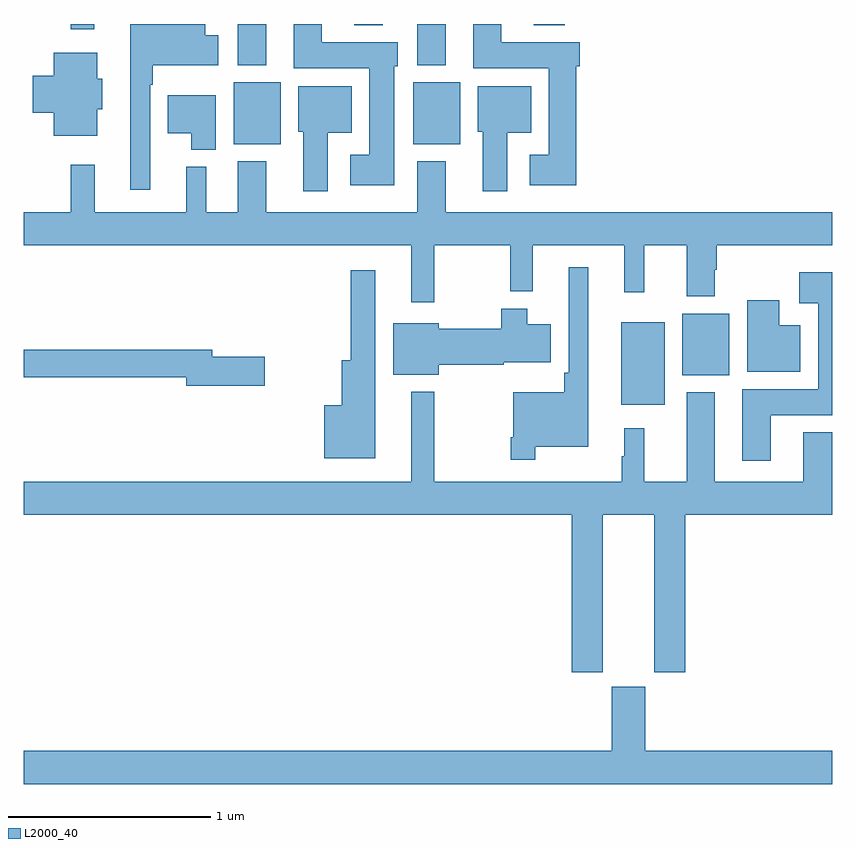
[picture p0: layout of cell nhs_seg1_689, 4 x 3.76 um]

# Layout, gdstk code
import gdstk
lib = gdstk.Library(unit=1e-6, precision=1e-09)
def R(c, l, rs):  # rectangles x0, y0, x1, y1
    for r in rs: c.add(gdstk.rectangle(r[:2], r[2:], *l))
def P(c, l, *ps):  # polygons
    for p in ps: c.add(gdstk.Polygon(p, *l))
L2000_40 = (2000, 40)

nhs_seg1_689 = lib.new_cell('nhs_seg1_689')
R(nhs_seg1_689, L2000_40, [(151.955,512.315,152.17,512.725), (152.258,512.462,152.491,512.767), (150.038,513.605,150.271,513.91), (150.926,513.605,151.159,513.91), (150.059,513.995,150.199,514.199), (150.947,513.995,151.087,514.199), (149.233,514.173,149.35,514.199), (150.635,514.193,150.775,514.199), (151.523,514.193,151.676,514.199)])
P(nhs_seg1_689, L2000_40, [(149.625,513.899),(149.638,513.899),(149.638,513.995),(149.962,513.995),(149.962,514.143),(149.899,514.143),(149.899,514.199),(149.528,514.199),(149.528,513.378),(149.625,513.378)],
  [(150.832,513.99),(150.85,513.99),(150.85,514.108),(150.475,514.108),(150.475,514.199),(150.335,514.199),(150.335,513.98),(150.71,513.98),(150.71,513.553),(150.615,513.553),(150.615,513.401),(150.832,513.401)],
  [(151.733,513.99),(151.751,513.99),(151.751,514.108),(151.363,514.108),(151.363,514.199),(151.223,514.199),(151.223,513.98),(151.598,513.98),(151.598,513.553),(151.503,513.553),(151.503,513.401),(151.733,513.401)],
  [(149.365,513.777),(149.389,513.777),(149.389,513.927),(149.365,513.927),(149.365,514.057),(149.15,514.057),(149.15,513.944),(149.045,513.944),(149.045,513.761),(149.15,513.761),(149.15,513.647),(149.365,513.647)],
  [(151.393,513.662),(151.51,513.662),(151.51,513.892),(151.247,513.892),(151.247,513.666),(151.271,513.666),(151.271,513.371),(151.393,513.371)],
  [(150.505,513.662),(150.622,513.662),(150.622,513.892),(150.359,513.892),(150.359,513.666),(150.383,513.666),(150.383,513.371),(150.505,513.371)],
  [(149.95,513.847),(149.714,513.847),(149.714,513.659),(149.828,513.659),(149.828,513.578),(149.95,513.578)],
  [(151.031,513.104),(151.407,513.104),(151.407,512.876),(151.517,512.876),(151.517,513.104),(151.97,513.104),(151.97,512.871),(152.069,512.871),(152.069,513.104),(152.279,513.104),(152.279,512.852),(152.419,512.852),(152.419,512.984),(152.427,512.984),(152.427,513.104),(153,513.104),(153,513.268),(151.087,513.268),(151.087,513.52),(150.947,513.52),(150.947,513.268),(150.199,513.268),(150.199,513.52),(150.059,513.52),(150.059,513.268),(149.902,513.268),(149.902,513.493),(149.804,513.493),(149.804,513.268),(149.351,513.268),(149.351,513.502),(149.233,513.502),(149.233,513.268),(149,513.268),(149,513.104),(150.917,513.104),(150.917,512.823),(151.031,512.823)],
  [(151.531,512.108),(151.792,512.108),(151.792,512.995),(151.695,512.995),(151.695,512.473),(151.675,512.473),(151.675,512.377),(151.422,512.377),(151.422,512.155),(151.41,512.155),(151.41,512.043),(151.531,512.043)],
  [(150.739,512.98),(150.618,512.98),(150.618,512.536),(150.574,512.536),(150.574,512.314),(150.488,512.314),(150.488,512.051),(150.739,512.051)],
  [(152.695,512.264),(153,512.264),(153,512.971),(152.835,512.971),(152.835,512.819),(152.93,512.819),(152.93,512.392),(152.555,512.392),(152.555,512.04),(152.695,512.04)],
  [(152.842,512.71),(152.737,512.71),(152.737,512.833),(152.579,512.833),(152.579,512.48),(152.842,512.48)],
  [(151.054,512.513),(151.374,512.513),(151.374,512.525),(151.606,512.525),(151.606,512.713),(151.492,512.713),(151.492,512.791),(151.363,512.791),(151.363,512.691),(151.054,512.691),(151.054,512.719),(150.827,512.719),(150.827,512.465),(151.054,512.465)],
  [(150.193,512.552),(149.932,512.552),(149.932,512.588),(149,512.588),(149,512.452),(149.804,512.452),(149.804,512.41),(150.193,512.41)],
  [(151.031,512.38),(150.917,512.38),(150.917,511.936),(149,511.936),(149,511.772),(151.712,511.772),(151.712,510.993),(151.864,510.993),(151.864,511.772),(152.12,511.772),(152.12,510.993),(152.273,510.993),(152.273,511.772),(153,511.772),(153,512.179),(152.855,512.179),(152.855,511.936),(152.419,511.936),(152.419,512.377),(152.279,512.377),(152.279,511.936),(152.069,511.936),(152.069,512.2),(151.97,512.2),(151.97,512.06),(151.959,512.06),(151.959,511.936),(151.031,511.936)],
  [(153,510.604),(152.074,510.604),(152.074,510.921),(151.91,510.921),(151.91,510.604),(149,510.604),(149,510.44),(153,510.44)])

lib.write_gds('nhs_seg1_689.gds')
